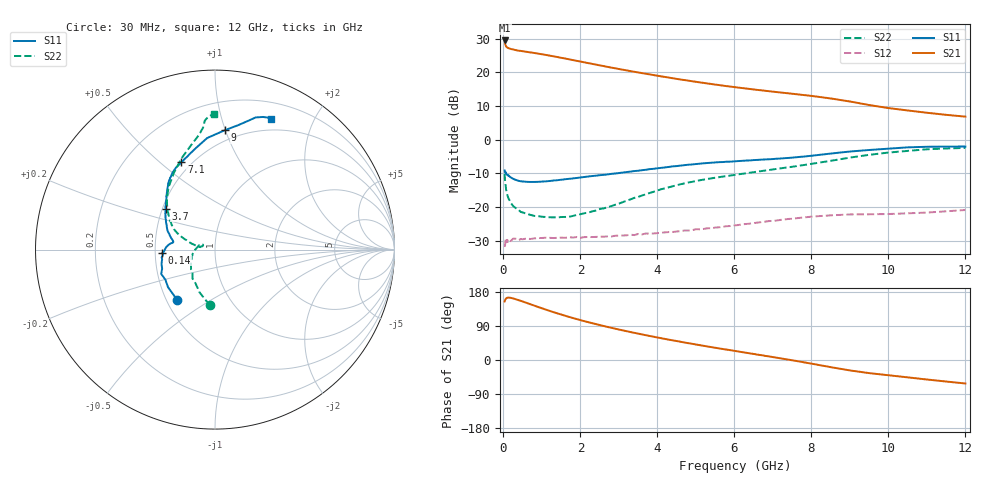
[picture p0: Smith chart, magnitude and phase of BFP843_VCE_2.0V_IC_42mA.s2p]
! Infineon Technologies  Discrete & RF Semiconductors
! BFP843
! VCE =  2.0 V,  IC =  42 mA
! Common Emitter S-Parameters:  Aug 2013
# GHz  S  MA  R  50
!  f  S11  S21  S12  S22
! GHz  MAG  ANG  MAG  ANG  MAG  ANG  MAG  ANG
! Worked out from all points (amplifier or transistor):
!   103 points, 30 MHz to 12 GHz, reference 50 ohm
!   highest |S21| = 29.5 dB at 30 MHz (marker M1)
!   |S21| within 3 dB of that: start of sweep to 381.8 MHz
!   unconditionally stable (mu >= 1): 85.47 MHz to 10.38 GHz
!   at 400 MHz: K = 1.05, MAG = 26.8 dB, |S12| = -29.8 dB
!   at 3.7 GHz: K = 1.33, MAG = 20.3 dB, |S12| = -27.8 dB
!   at 12 GHz: K = 0.84, MSG = 13.9 dB, |S12| = -20.9 dB
!   S11 on the Smith chart (normalised r, x): 30 MHz: 0.57, -0.36; 140 MHz: 0.55, -0.02; 3.7 GHz: 0.52, +0.27; 7.1 GHz: 0.44, +0.59; 9 GHz: 0.41, +1.00; 12 GHz: 0.37, +1.45
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0.03  0.3501 -127.2  29.75 154.4  0.0269 26.9  0.3119 -95.2
0.04  0.3353 -141.3  27.1 156.9  0.0263 19.0  0.2546 -109.5
0.05  0.3233 -148.6  25.74 160.1  0.0301 16.9  0.2177 -119.8
0.07  0.3132 -160.1  24.15 162.7  0.0325 15.0  0.1782 -134.7
0.1  0.2993 -169.8  23.35 164.4  0.0326 15.3  0.1525 -153.5
0.14  0.294 -176.7  22.78 164.6  0.0311 10.0  0.1305 -165.4
0.2  0.2732 177.3  22.14 163.8  0.0318 8.7  0.114 -177.9
0.8  0.2363 169.7  19.39 143.6  0.0343 5.5  0.074 158.3
1.1  0.2409 167.5  18.15 133.0  0.0351 5.8  0.0713 158.8
1.6  0.2589 163.7  16.06 116.9  0.035 6.9  0.0714 163.8
2.1  0.2798 159.2  14.08 102.5  0.0358 7.4  0.0811 168.2
2.8  0.3111 151.2  11.78 85.0  0.0366 11.6  0.1033 168.9
3.3  0.3363 145.1  10.44 73.8  0.039 13.4  0.1301 166.0
3.7  0.3582 140.3  9.529 65.4  0.0406 14.8  0.1551 163.2
4.1  0.3827 135.5  8.714 57.5  0.0416 16.4  0.1845 160.3
5  0.4356 127.3  7.241 40.9  0.047 16.4  0.2432 154.9
6.1  0.4821 120.2  5.942 22.4  0.0541 16.7  0.3061 145.8
7.1  0.5226 111.0  5.097 6.0  0.0633 13.2  0.3691 136.4
8.5  0.6232 94.0  4.099 -18.8  0.0754 3.0  0.4862 118.0
9  0.668 85.2  3.695 -27.5  0.0778 -1.3  0.5425 110.0
10.5  0.7704 72.9  2.72 -45.8  0.0808 -9.2  0.6826 95.6
12  0.7922 67.0  2.201 -62.0  0.0905 -16.3  0.7561 90.5
